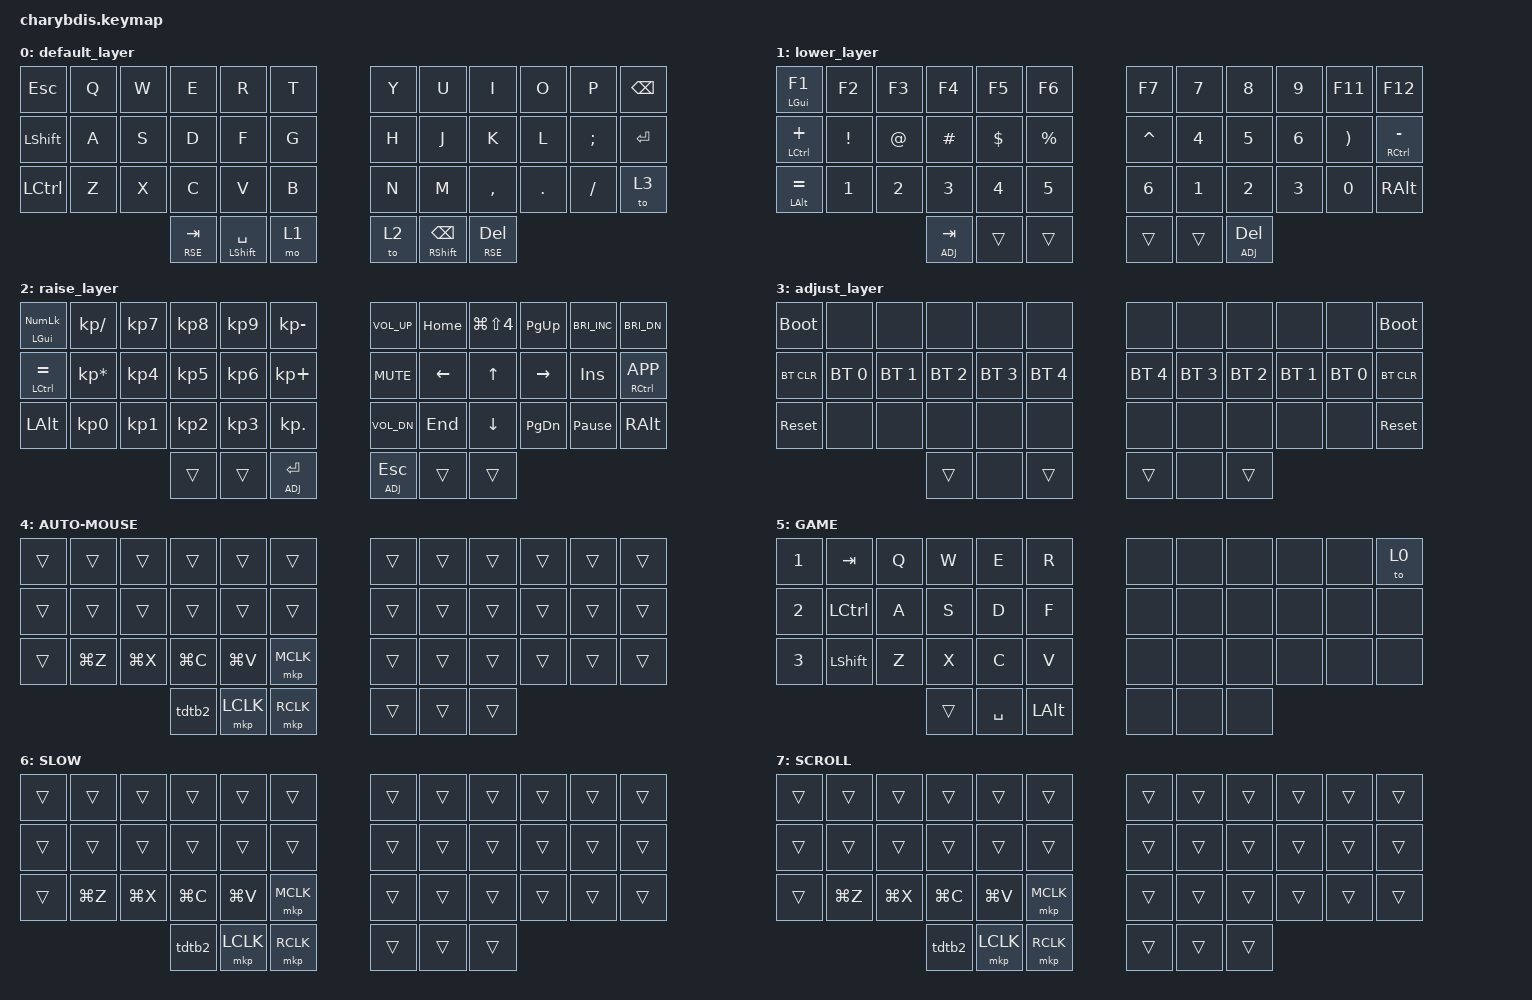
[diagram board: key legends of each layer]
#include <behaviors/mouse_keys.dtsi>
#include <dt-bindings/zmk/mouse.h>
#include <behaviors.dtsi>
#include <dt-bindings/zmk/bt.h>
#include <dt-bindings/zmk/keys.h>
#include <dt-bindings/zmk/pointing.h>

#define U_TAPPING_TERM 200
#define DEF 0
#define LWR 1
#define RSE 2
#define ADJ 3

&lt { quick_tap_ms = <200>; };

&mt { quick_tap_ms = <200>; };

/ {
    chosen { zmk,matrix_transform = &default_transform; };
};

/ {
    combos {
        compatible = "zmk,combos";

        ParaLeft {
            bindings = <&kp LEFT_PARENTHESIS>;
            key-positions = <4 16>;
        };

        ParaRight {
            bindings = <&kp RIGHT_PARENTHESIS>;
            key-positions = <7 19>;
        };

        BrakLeft {
            bindings = <&kp LEFT_BRACKET>;
            key-positions = <3 15>;
        };

        BrakRight {
            bindings = <&kp RIGHT_BRACKET>;
            key-positions = <8 20>;
        };

        BraceLeft {
            bindings = <&kp LEFT_BRACE>;
            key-positions = <2 14>;
        };

        BraceRight {
            bindings = <&kp RIGHT_BRACE>;
            key-positions = <9 21>;
        };

        CapsWord {
            bindings = <&caps_word>;
            key-positions = <17 18>;
        };

        GAME_MODE {
            bindings = <&to 5>;
            key-positions = <24 12 0>;
        };

        RightClickLeft {
            bindings = <&mkp RCLK>;
            key-positions = <14 15>;
        };

        RightClickRight {
            bindings = <&mkp RCLK>;
            key-positions = <20 21>;
        };

        LeftClickLeft {
            bindings = <&mkp LCLK>;
            key-positions = <16 15>;
        };

        LeftClickRight {
            bindings = <&mkp LCLK>;
            key-positions = <19 20>;
        };

        MiddleClickLeft {
            bindings = <&mkp MCLK>;
            key-positions = <13 14>;
        };

        MiddleClickRight {
            bindings = <&mkp MCLK>;
            key-positions = <21 22>;
        };
    };

    behaviors {
        u_mt: u_mt {
            compatible = "zmk,behavior-hold-tap";
            label = "u_mt";
            #binding-cells = <2>;
            tapping_term_ms = <U_TAPPING_TERM>;
            flavor = "tap-preferred";
            bindings = <&kp>, <&kp>;
        };

        u_lt: u_lt {
            compatible = "zmk,behavior-hold-tap";
            label = "u_lt";
            #binding-cells = <2>;
            tapping_term_ms = <U_TAPPING_TERM>;
            flavor = "tap-preferred";
            bindings = <&mo>, <&kp>;
        };

        Shift_Enter: Shift_Enter {
            compatible = "zmk,behavior-hold-tap";
            label = "SHIFT_ENTER";
            bindings = <&kp>, <&kp>;

            #binding-cells = <2>;
            hold-trigger-key-positions = <40>;
            tapping-term-ms = <100>;
        };

        httl: ht_two_layers {
            compatible = "zmk,behavior-hold-tap";
            bindings = <&mo>, <&to>;

            #binding-cells = <2>;
            flavor = "balanced";
            tapping-term-ms = <200>;
        };

        tdtb: td_mouse_scroll {
            compatible = "zmk,behavior-tap-dance";
            #binding-cells = <0>;
            bindings = <&httl 7 4>, <&to 0>;

            tapping-term-ms = <200>;
        };

        tdtb2: td_slow_scroll {
            compatible = "zmk,behavior-tap-dance";
            #binding-cells = <0>;
            bindings = <&httl 7 0>, <&to 6>;
        };
    };

    keymap {
        compatible = "zmk,keymap";

        default_layer {
            bindings = <
&kp ESCAPE      &kp Q  &kp W  &kp E        &kp R            &kp T    &kp Y  &kp U           &kp I        &kp O    &kp P     &kp BACKSPACE
&kp LEFT_SHIFT  &kp A  &kp S  &kp D        &kp F            &kp G    &kp H  &kp J           &kp K        &kp L    &kp SEMI  &kp ENTER
&kp LCTRL       &kp Z  &kp X  &kp C        &kp V            &kp B    &kp N  &kp M           &kp COMMA    &kp DOT  &kp FSLH  &to 3
                              &lt RSE TAB  &mt LSHFT SPACE  &mo 1    &to 2  &mt RSHFT BSPC  &lt RSE DEL
            >;
        };

        lower_layer {
            bindings = <
&mt LGUI F1     &kp F2    &kp F3  &kp F4       &kp F5    &kp F6       &kp F7     &kp N7        &kp N8        &kp N9        &kp F11   &kp F12
&mt LCTRL PLUS  &kp EXCL  &kp AT  &kp HASH     &kp DLLR  &kp PRCNT    &kp CARET  &kp NUMBER_4  &kp N5        &kp NUMBER_6  &kp RPAR  &mt RCTRL MINUS
&mt LALT EQUAL  &kp N1    &kp N2  &kp N3       &kp N4    &kp N5       &kp N6     &kp NUMBER_1  &kp NUMBER_2  &kp NUMBER_3  &kp N0    &kp RALT
                                  &lt ADJ TAB  &trans    &trans       &trans     &trans        &lt ADJ DEL
            >;
        };

        raise_layer {
            bindings = <
&mt LGUI KP_NUM  &kp KP_SLASH     &kp KP_N7  &kp KP_N8  &kp KP_N9  &kp KP_MINUS    &kp C_VOL_UP  &kp HOME  &kp LG(LS(NUMBER_4))  &kp PG_UP  &kp C_BRI_INC    &kp C_BRI_DN
&mt LCTRL EQUAL  &kp KP_MULTIPLY  &kp KP_N4  &kp KP_N5  &kp KP_N6  &kp KP_PLUS     &kp C_MUTE    &kp LEFT  &kp UP                &kp RIGHT  &kp INS          &mt RCTRL K_APP
&kp LALT         &kp KP_N0        &kp KP_N1  &kp KP_N2  &kp KP_N3  &kp KP_DOT      &kp C_VOL_DN  &kp END   &kp DOWN              &kp PG_DN  &kp PAUSE_BREAK  &kp RALT
                                             &trans     &trans     &lt ADJ RET     &lt ADJ ESC   &trans    &trans
            >;
        };

        adjust_layer {
            bindings = <
&bootloader  &none         &none         &none         &none         &none           &none         &none         &none         &none         &none         &bootloader
&bt BT_CLR   &bt BT_SEL 0  &bt BT_SEL 1  &bt BT_SEL 2  &bt BT_SEL 3  &bt BT_SEL 4    &bt BT_SEL 4  &bt BT_SEL 3  &bt BT_SEL 2  &bt BT_SEL 1  &bt BT_SEL 0  &bt BT_CLR
&sys_reset   &none         &none         &none         &none         &none           &none         &none         &none         &none         &none         &sys_reset
                                         &trans        &none         &trans          &trans        &none         &trans
            >;
        };

        AUTO-MOUSE {
            bindings = <
&trans  &trans     &trans     &trans     &trans     &trans       &trans  &trans  &trans  &trans  &trans  &trans
&trans  &trans     &trans     &trans     &trans     &trans       &trans  &trans  &trans  &trans  &trans  &trans
&trans  &kp LG(Z)  &kp LG(X)  &kp LG(C)  &kp LG(V)  &mkp MCLK    &trans  &trans  &trans  &trans  &trans  &trans
                              &tdtb2     &mkp LCLK  &mkp RCLK    &trans  &trans  &trans
            >;
        };

        GAME {
            bindings = <
&kp N1  &kp TAB    &kp Q  &kp W   &kp E      &kp R           &none  &none  &none  &none  &none  &to 0
&kp N2  &kp LCTRL  &kp A  &kp S   &kp D      &kp F           &none  &none  &none  &none  &none  &none
&kp N3  &kp LSHFT  &kp Z  &kp X   &kp C      &kp V           &none  &none  &none  &none  &none  &none
                          &trans  &kp SPACE  &kp LEFT_ALT    &none  &none  &none
            >;
        };

        SLOW {
            bindings = <
&trans  &trans     &trans     &trans     &trans     &trans       &trans  &trans  &trans  &trans  &trans  &trans
&trans  &trans     &trans     &trans     &trans     &trans       &trans  &trans  &trans  &trans  &trans  &trans
&trans  &kp LG(Z)  &kp LG(X)  &kp LG(C)  &kp LG(V)  &mkp MCLK    &trans  &trans  &trans  &trans  &trans  &trans
                              &tdtb2     &mkp LCLK  &mkp RCLK    &trans  &trans  &trans
            >;
        };

        SCROLL {
            bindings = <
&trans  &trans     &trans     &trans     &trans     &trans       &trans  &trans  &trans  &trans  &trans  &trans
&trans  &trans     &trans     &trans     &trans     &trans       &trans  &trans  &trans  &trans  &trans  &trans
&trans  &kp LG(Z)  &kp LG(X)  &kp LG(C)  &kp LG(V)  &mkp MCLK    &trans  &trans  &trans  &trans  &trans  &trans
                              &tdtb2     &mkp LCLK  &mkp RCLK    &trans  &trans  &trans
            >;
        };
    };
};
